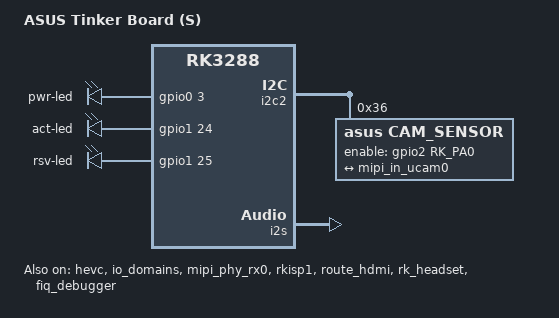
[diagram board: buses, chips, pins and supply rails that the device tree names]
/*
 * Copyright (c) 2018 Fuzhou Rockchip Electronics Co., Ltd
 *
 * SPDX-License-Identifier: (GPL-2.0+ OR MIT)
 */

/dts-v1/;
#include "rk3288-tinker_board.dtsi"

/ {
	model = "ASUS Tinker Board (S)";
	compatible = "rockchip,rk3288-evb-android-rk808-edp", "rockchip,rk3288";
	chosen: chosen {
		bootargs = "earlycon=uart8250,mmio32,0xff1b0000 vmalloc=496M console=ttyFIQ0 androidboot.baseband=N/A androidboot.veritymode=enforcing androidboot.hardware=rk30board androidboot.console=ttyFIQ0 init=/init kpti=0";
	};

	gpio-leds {
		compatible = "gpio-leds";

		pwr-led {
				gpios = <&gpio0 3 GPIO_ACTIVE_HIGH>;
				linux,default-trigger = "default-on";
		};

		act-led {
				gpios=<&gpio1 24 GPIO_ACTIVE_HIGH>;
				linux,default-trigger="mmc1";
		};

		rsv-led {
				gpios=<&gpio1 25 GPIO_ACTIVE_HIGH>;
				linux,default-trigger="default-off";
		};
	};

	board_info: board-info {
		compatible = "board-info";

		model = "rk3288";

		hw-id0 = <&gpio2 RK_PB0 GPIO_ACTIVE_HIGH>;
		hw-id1 = <&gpio2 RK_PB1 GPIO_ACTIVE_HIGH>;
		hw-id2 = <&gpio2 RK_PB2 GPIO_ACTIVE_HIGH>;

		pid-id0 = <&gpio2 RK_PA1 GPIO_ACTIVE_HIGH>;
		pid-id1 = <&gpio2 RK_PA2 GPIO_ACTIVE_HIGH>;
		pid-id2 = <&gpio2 RK_PA3 GPIO_ACTIVE_HIGH>;

		ddr-id0 = <&gpio2 RK_PB4 GPIO_ACTIVE_HIGH>;
		ddr-id1 = <&gpio2 RK_PB5 GPIO_ACTIVE_HIGH>;
		ddr-id2 = <&gpio2 RK_PB6 GPIO_ACTIVE_HIGH>;
	};

	sound-simple-card {
		status = "okay";
		compatible = "simple-audio-card";
		simple-audio-card,format = "i2s";
		simple-audio-card,name = "rockchip,miniarm-codec";
		simple-audio-card,mclk-fs = <512>;
		simple-audio-card,cpu {
			sound-dai = <&i2s>;
		};
		simple-audio-card,codec {
			sound-dai = <&hdmi>;
		};
	};
};

&hevc {
	status = "okay";
	clock-names = "aclk_vcodec", "hclk_vcodec", "clk_core", "clk_cabac";
	rockchip,normal-rates = <300000000>, <0>, <200000000>, <200000000>;
	rockchip,advanced-rates = <600000000>, <0>, <500000000>, <500000000>;
};

&io_domains {
	status = "okay";

	dvp-supply = <&vcc_18>;
};

&isp_mmu {
	status = "okay";
};

&i2c2 {
	status = "okay";

	cam_sensor: cam_sensor@36 {
		compatible = "asus,cam_sensor";
		status = "okay";
		reg = <0x36>;
		clocks = <&cru SCLK_VIP_OUT>;
		clock-names = "xvclk";

		pinctrl-names = "rockchip,camera_default";
		pinctrl-0 = <&isp_mipi>;
		enable-gpios = <&gpio2 RK_PA0 GPIO_ACTIVE_HIGH>;

		port {
			cam_sensor_out: endpoint {
				remote-endpoint = <&mipi_in_ucam0>;
				data-lanes = <1 2>;
			};
		};
	};

};

&mipi_phy_rx0 {
	status = "okay";

	ports {
		#address-cells = <1>;
		#size-cells = <0>;

		port@0 {
			reg = <0>;
			#address-cells = <1>;
			#size-cells = <0>;

			mipi_in_ucam0: endpoint@1 {
				reg = <1>;
				remote-endpoint = <&cam_sensor_out>;
				data-lanes = <1 2>;
			};
		};

		port@1 {
			reg = <1>;
			#address-cells = <1>;
			#size-cells = <0>;

			dphy_rx_out: endpoint@0 {
				reg = <0>;
				remote-endpoint = <&isp_mipi_in>;
			};
		};
	};
};

&rkisp1 {
	status = "okay";
	port {
		#address-cells = <1>;
		#size-cells = <0>;

		isp_mipi_in: endpoint@0 {
			reg = <0>;
			remote-endpoint = <&dphy_rx_out>;
		};

	};
};

&route_hdmi {
	status = "okay";
};

&vopb {
	assigned-clocks = <&cru DCLK_VOP0>;
	assigned-clock-parents = <&cru PLL_GPLL>;
};

&vopl {
	assigned-clocks = <&cru DCLK_VOP1>;
	assigned-clock-parents = <&cru PLL_CPLL>;
};

&thermal_zones {
        cpu_thermal: soc-thermal {
                trips {
                        cpu_alert0: trip-point@0 {
                                temperature = <70000>; /* millicelsius */
                        };
                        cpu_alert1: trip-point@1 {
                                temperature = <80000>; /* millicelsius */
                        };
                };

        };
};

&hdmi {
	pinctrl-0 = <&hdmi_ddc &hdmi_cec>;
	#address-cells = <1>;
	#size-cells = <0>;
	#sound-dai-cells = <0>;
};

&i2s {
	#sound-dai-cells = <0>;
	status = "okay";
};

&rk_headset {
	status = "okay";
};

&fiq_debugger {
	rockchip,serial-id = <3>;
	pinctrl-0 = <&uart3_xfer>;
	status = "okay";
};

&spi0 {
        status = "disabled";
        max-freq = <50000000>;
        pinctrl-0 = <&spi0_clk &spi0_tx &spi0_rx &spi0_cs0 &spi0_cs1>;

        spidev@0 {
                compatible = "rockchip,spidev";
                reg = <0>;
                spi-max-frequency = <50000000>;
                spi-cpha = <1>;
        };

        spidev@1 {
                compatible = "rockchip,spidev";
                reg = <1>;
                spi-max-frequency = <50000000>;
                spi-cpha = <1>;
        };
};

&spi2 {
        status = "disabled";
        max-freq = <50000000>;
        pinctrl-0 = <&spi2_clk &spi2_tx &spi2_rx &spi2_cs0 &spi2_cs1>;

        spidev@0 {
                compatible = "rockchip,spidev";
                reg = <0>;
                spi-max-frequency = <50000000>;
                spi-cpha = <1>;
        };

        spidev@1 {
                compatible = "rockchip,spidev";
                reg = <1>;
                spi-max-frequency = <50000000>;
                spi-cpha = <1>;
        };
};

&uart1 {
        pinctrl-names = "default";
        pinctrl-0 = <&uart1_xfer &uart1_cts &uart1_rts>;
        status = "disabled";
};

&uart2 {
        status = "disabled";
};

&uart3 {
        status = "disabled";
};

&uart4 {
        pinctrl-names = "default";
        pinctrl-0 = <&uart4_xfer>, <&uart4_cts>, <&uart4_rts>;
        status = "disabled";
};

